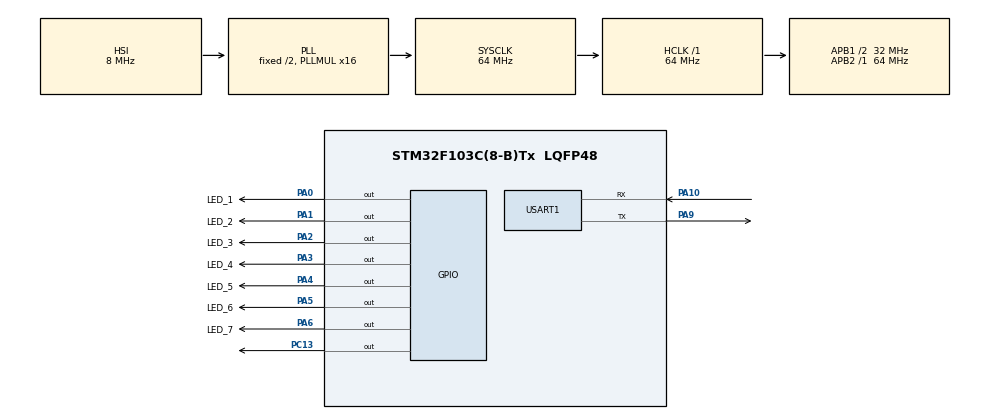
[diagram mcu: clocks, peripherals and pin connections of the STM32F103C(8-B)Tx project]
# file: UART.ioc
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Mcu.Family=STM32F1
Mcu.Name=STM32F103C(8-B)Tx
Mcu.Package=LQFP48
NVIC.PriorityGroup=NVIC_PRIORITYGROUP_4
NVIC.USART1_IRQn=true\:1\:0\:true\:false\:true\:true\:true\:true
PA0-WKUP.GPIO_Label=LED_1
PA0-WKUP.Signal=GPIO_Output
PA1.GPIO_Label=LED_2
PA1.Signal=GPIO_Output
PA10.Mode=Asynchronous
PA10.Signal=USART1_RX
PA13.Mode=Serial_Wire
PA13.Signal=SYS_JTMS-SWDIO
PA14.Mode=Serial_Wire
PA14.Signal=SYS_JTCK-SWCLK
PA2.GPIO_Label=LED_3
PA2.Signal=GPIO_Output
PA3.GPIO_Label=LED_4
PA3.Signal=GPIO_Output
PA4.GPIO_Label=LED_5
PA4.Signal=GPIO_Output
PA5.GPIO_Label=LED_6
PA5.Signal=GPIO_Output
PA6.GPIO_Label=LED_7
PA6.Signal=GPIO_Output
PA9.Mode=Asynchronous
PA9.Signal=USART1_TX
PC13-TAMPER-RTC.Signal=GPIO_Output
PD0-OSC_IN.Mode=HSE-External-Oscillator
PD0-OSC_IN.Signal=RCC_OSC_IN
PD1-OSC_OUT.Mode=HSE-External-Oscillator
PD1-OSC_OUT.Signal=RCC_OSC_OUT
ProjectManager.HeapSize=0x200
ProjectManager.StackSize=0x400
ProjectManager.TargetToolchain=STM32CubeIDE
RCC.AHBFreq_Value=64000000
RCC.APB1CLKDivider=RCC_HCLK_DIV2
RCC.APB1Freq_Value=32000000
RCC.APB1TimFreq_Value=64000000
RCC.APB2Freq_Value=64000000
RCC.APB2TimFreq_Value=64000000
RCC.HCLKFreq_Value=64000000
RCC.PLLMUL=RCC_PLL_MUL16
RCC.SYSCLKFreq_VALUE=64000000
RCC.SYSCLKSource=RCC_SYSCLKSOURCE_PLLCLK
RCC.USBFreq_Value=64000000
USART1.VirtualMode=VM_ASYNC
board=custom

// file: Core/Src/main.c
/* USER CODE BEGIN Header */
/**
  ******************************************************************************
  * @file           : main.c
  * @brief          : Main program body
  ******************************************************************************
  * @attention
  *
  * Copyright (c) 2025 STMicroelectronics.
  * All rights reserved.
  *
  * This software is licensed under terms that can be found in the LICENSE file
  * in the root directory of this software component.
  * If no LICENSE file comes with this software, it is provided AS-IS.
  *
  ******************************************************************************
  */
/* USER CODE END Header */
#include "main.h"

/* USER CODE BEGIN Includes */

#include <stdio.h>
#include <string.h>
#include <stdlib.h>
#include <stdint.h>

/* USER CODE END Includes */

/* USER CODE BEGIN PD */

#define CMD_ON "led_on"
#define CMD_OFF "led_off"

GPIO_TypeDef* LED_GPIO_PORT[7] = {
    LED_1_GPIO_Port,
    LED_2_GPIO_Port,
    LED_3_GPIO_Port,
    LED_4_GPIO_Port,
    LED_5_GPIO_Port,
    LED_6_GPIO_Port,
    LED_7_GPIO_Port
};

uint16_t LED_GPIO_PIN[7] = {
    LED_1_Pin,
    LED_2_Pin,
    LED_3_Pin,
    LED_4_Pin,
    LED_5_Pin,
    LED_6_Pin,
    LED_7_Pin
};

/* USER CODE END PD */

 UART_HandleTypeDef huart1;

void SystemClock_Config(void);
static void MX_GPIO_Init(void);
static void MX_USART1_UART_Init(void);

/* USER CODE BEGIN 0 */

uint8_t Data_Rx;
uint8_t Flag_Uart = 0;
uint8_t Index_Uart = 0;

char buff_uart[50] = "";

typedef struct {
    uint8_t* data;
    size_t size;
    size_t capacity;
} Vector_uint8_t;

void vector_init(Vector_uint8_t* v) {
    v->data = NULL;
    v->size = 0;
    v->capacity = 0;
}

void vector_push(Vector_uint8_t* v, uint8_t value) {
    if (v->size >= v->capacity) {
        v->capacity = (v->capacity == 0) ? 4 : v->capacity * 2;
        v->data = (uint8_t*) realloc(v->data, v->capacity * sizeof(uint8_t));
    }
    v->data[v->size++] = value;
}

void vector_free(Vector_uint8_t* v) {
    free(v->data);
    v->data = NULL;
    v->size = 0;
    v->capacity = 0;
}

Vector_uint8_t temp_on, temp_off;

void parse_led_command(const char* command, const char* label, Vector_uint8_t* out_vector) {
    const char* start = strstr(command, label);
    if (start != NULL) {
        const char* colon = strchr(start, ':');
        if (colon != NULL) {
            colon++;
            uint8_t temp_number = 0;
            while (*colon != ';' && *colon != '\0') {
                if (*colon >= '0' && *colon <= '9') {
                    temp_number = temp_number * 10 + (*colon - '0');
                } else if (*colon == ',' || *colon == ' ') {
                    vector_push(out_vector, temp_number);
                    temp_number = 0;
                }
                colon++;
            }
            if (temp_number > 0)
                vector_push(out_vector, temp_number);
        }
    }
}

void SET_LED(const char* uart_buffer) {
    vector_init(&temp_on);
    vector_init(&temp_off);
    parse_led_command(uart_buffer, CMD_ON, &temp_on);
    parse_led_command(uart_buffer, CMD_OFF, &temp_off);
}

void SET_UP_STATUS(Vector_uint8_t* on, Vector_uint8_t* off) {
    for (size_t i = 0; i < on->size; i++) {
        uint8_t pin_index = on->data[i];
        if (pin_index >= 1 && pin_index <= 7) {
            HAL_GPIO_WritePin(LED_GPIO_PORT[pin_index - 1], LED_GPIO_PIN[pin_index - 1], GPIO_PIN_SET);
        }
    }

    for (size_t i = 0; i < off->size; i++) {
        uint8_t pin_index = off->data[i];
        if (pin_index >= 1 && pin_index <= 7) {
            HAL_GPIO_WritePin(LED_GPIO_PORT[pin_index - 1], LED_GPIO_PIN[pin_index - 1], GPIO_PIN_RESET);
        }
    }
}

void HAL_UART_RxCpltCallback(UART_HandleTypeDef *huart)
{
	if (huart->Instance == huart1.Instance)
	{
		Flag_Uart = 1;
		buff_uart [Index_Uart++] = Data_Rx;
		if (Data_Rx == '.')
		{
			buff_uart[Index_Uart] = '\0';
			Index_Uart = 0;
			memset(buff_uart, 0, sizeof(buff_uart));
			Data_Rx = '\0';
			HAL_UART_Receive_IT(&huart1, &Data_Rx, 1);
			vector_free(&temp_on);
			vector_free(&temp_off);
		}
		else
		{
			HAL_UART_Receive_IT(&huart1, &Data_Rx, 1);
		}
	}
}

/* USER CODE END 0 */

int main(void)
{

  /* MCU Configuration--------------------------------------------------------*/

  /* Reset of all peripherals, Initializes the Flash interface and the Systick. */
  HAL_Init();

  /* Configure the system clock */
  SystemClock_Config();

  /* Initialize all configured peripherals */
  MX_GPIO_Init();
  MX_USART1_UART_Init();
  /* USER CODE BEGIN 2 */
  HAL_UART_Receive_IT(&huart1, &Data_Rx, 1);
  /* USER CODE END 2 */

  /* Infinite loop */
  while (1)
  {

    /* USER CODE BEGIN 3 */
	  if (Flag_Uart)
	  {
		  SET_LED(buff_uart);
		  SET_UP_STATUS(&temp_on, &temp_off);
		  Flag_Uart = 0;
	  }

  }
  /* USER CODE END 3 */
}

void SystemClock_Config(void)
{
  RCC_OscInitTypeDef RCC_OscInitStruct = {0};
  RCC_ClkInitTypeDef RCC_ClkInitStruct = {0};

  /** Initializes the RCC Oscillators according to the specified parameters
  * in the RCC_OscInitTypeDef structure.
  */
  RCC_OscInitStruct.OscillatorType = RCC_OSCILLATORTYPE_HSI;
  RCC_OscInitStruct.HSIState = RCC_HSI_ON;
  RCC_OscInitStruct.HSICalibrationValue = RCC_HSICALIBRATION_DEFAULT;
  RCC_OscInitStruct.PLL.PLLState = RCC_PLL_ON;
  RCC_OscInitStruct.PLL.PLLSource = RCC_PLLSOURCE_HSI_DIV2;
  RCC_OscInitStruct.PLL.PLLMUL = RCC_PLL_MUL16;
  if (HAL_RCC_OscConfig(&RCC_OscInitStruct) != HAL_OK)
  {
    Error_Handler();
  }

  /** Initializes the CPU, AHB and APB buses clocks
  */
  RCC_ClkInitStruct.ClockType = RCC_CLOCKTYPE_HCLK|RCC_CLOCKTYPE_SYSCLK
                              |RCC_CLOCKTYPE_PCLK1|RCC_CLOCKTYPE_PCLK2;
  RCC_ClkInitStruct.SYSCLKSource = RCC_SYSCLKSOURCE_PLLCLK;
  RCC_ClkInitStruct.AHBCLKDivider = RCC_SYSCLK_DIV1;
  RCC_ClkInitStruct.APB1CLKDivider = RCC_HCLK_DIV2;
  RCC_ClkInitStruct.APB2CLKDivider = RCC_HCLK_DIV1;

  if (HAL_RCC_ClockConfig(&RCC_ClkInitStruct, FLASH_LATENCY_2) != HAL_OK)
  {
    Error_Handler();
  }
}

static void MX_USART1_UART_Init(void)
{

  huart1.Instance = USART1;
  huart1.Init.BaudRate = 115200;
  huart1.Init.WordLength = UART_WORDLENGTH_8B;
  huart1.Init.StopBits = UART_STOPBITS_1;
  huart1.Init.Parity = UART_PARITY_NONE;
  huart1.Init.Mode = UART_MODE_TX_RX;
  huart1.Init.HwFlowCtl = UART_HWCONTROL_NONE;
  huart1.Init.OverSampling = UART_OVERSAMPLING_16;
  if (HAL_UART_Init(&huart1) != HAL_OK)
  {
    Error_Handler();
  }

}

static void MX_GPIO_Init(void)
{
  GPIO_InitTypeDef GPIO_InitStruct = {0};

  /* GPIO Ports Clock Enable */
  __HAL_RCC_GPIOC_CLK_ENABLE();
  __HAL_RCC_GPIOD_CLK_ENABLE();
  __HAL_RCC_GPIOA_CLK_ENABLE();

  /*Configure GPIO pin Output Level */
  HAL_GPIO_WritePin(GPIOC, GPIO_PIN_13, GPIO_PIN_RESET);

  /*Configure GPIO pin Output Level */
  HAL_GPIO_WritePin(GPIOA, LED_1_Pin|LED_2_Pin|LED_3_Pin|LED_4_Pin
                          |LED_5_Pin|LED_6_Pin|LED_7_Pin, GPIO_PIN_RESET);

  /*Configure GPIO pin : PC13 */
  GPIO_InitStruct.Pin = GPIO_PIN_13;
  GPIO_InitStruct.Mode = GPIO_MODE_OUTPUT_PP;
  GPIO_InitStruct.Pull = GPIO_NOPULL;
  GPIO_InitStruct.Speed = GPIO_SPEED_FREQ_LOW;
  HAL_GPIO_Init(GPIOC, &GPIO_InitStruct);

  /*Configure GPIO pins : LED_1_Pin LED_2_Pin LED_3_Pin LED_4_Pin
                           LED_5_Pin LED_6_Pin LED_7_Pin */
  GPIO_InitStruct.Pin = LED_1_Pin|LED_2_Pin|LED_3_Pin|LED_4_Pin
                          |LED_5_Pin|LED_6_Pin|LED_7_Pin;
  GPIO_InitStruct.Mode = GPIO_MODE_OUTPUT_PP;
  GPIO_InitStruct.Pull = GPIO_NOPULL;
  GPIO_InitStruct.Speed = GPIO_SPEED_FREQ_LOW;
  HAL_GPIO_Init(GPIOA, &GPIO_InitStruct);

}

void Error_Handler(void)
{
  __disable_irq();
  while (1)
  {
  }
}
